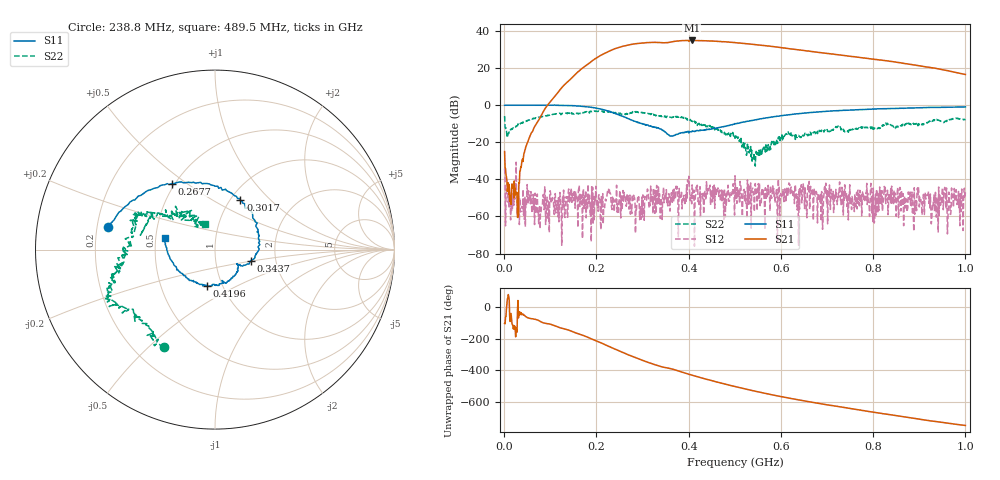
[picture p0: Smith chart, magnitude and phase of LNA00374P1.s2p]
! Created with skrf 1.9.0 (http://scikit-rf.org).
# Hz S RI R 50.0
!freq ReS11 ImS11 ReS21 ImS21 ReS12 ImS12 ReS22 ImS22
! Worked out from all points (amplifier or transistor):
!   1001 points, 1 MHz to 1 GHz, reference 50 ohm
!   highest |S21| = 34.9 dB at 406.6 MHz (marker M1)
!   |S21| within 3 dB of that: 259.9 MHz to 572.2 MHz (312.3 MHz wide, 75.1 % of centre)
!   unconditionally stable (mu >= 1): start of sweep to 84.14 MHz; 227.5 MHz to 500.5 MHz; 500.5 MHz to end of sweep (the widest 3 of 28)
!   at 166.8 MHz: K = 1.76, MAG = 31.3 dB, |S12| = -53.3 dB
!   at 500.5 MHz: K = 0.99, MSG = 35.9 dB, |S12| = -38.1 dB
!   at 1 GHz: K = 3.13, MAG = 24.0 dB, |S12| = -47.2 dB
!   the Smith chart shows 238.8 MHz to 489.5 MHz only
!   S11 on the Smith chart (normalised r, x): 238.8 MHz: 0.24, +0.10; 267.7 MHz: 0.48, +0.44; 301.7 MHz: 1.11, +0.68; 343.7 MHz: 1.48, -0.19; 419.6 MHz: 0.84, -0.35; 489.5 MHz: 0.56, +0.08
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1000000  0.9906 0.0146  -0.0149 -0.054  -0.00857 0.0175  0.3453 0.3757
1.07893e8  0.5149 -0.8544  -0.7371 -1.43  -0.00118 -0.00028  0.4376 -0.3698
1.67833e8  -0.2569 -0.8944  -9.533 -0.5517  -0.000425 -0.00215  0.0333 -0.6321
2.07793e8  -0.6849 -0.393  -15.36 14.93  0.00182 -0.002  -0.2041 -0.6573
2.38762e8  -0.5969 0.127  -3.143 32.6  0.00124 -0.000522  -0.285 -0.5448
2.67733e8  -0.2398 0.3678  20.78 35.86  -0.00237 -0.000479  -0.474 -0.3306
3.01699e8  0.1415 0.2757  44.2 17.39  -0.00141 0.00151  -0.5878 -0.197
3.18682e8  0.2301 0.1389  49.1 3.623  -0.00178 0.00175  -0.552 -0.131
3.34666e8  0.2455 9e-05  47.94 -9.663  -0.00539 0.0029  -0.5161 -0.0289
3.43657e8  0.1983 -0.0612  45.76 -15.42  -0.00177 -0.00345  -0.5109 0.0126
3.73627e8  0.1297 -0.099  41.22 -33.92  0.000102 0.00495  -0.4472 0.1668
4.06594e8  0.0248 -0.1904  19.7 -51.82  0.000769 0.00206  -0.3216 0.2034
4.19581e8  -0.0466 -0.201  9.522 -54.24  0.0037 0.00458  -0.2554 0.1777
4.5055e8  -0.1934 -0.1289  -13.48 -52.13  0.00272 0.00446  -0.1818 0.1857
4.89511e8  -0.2813 0.0626  -34.41 -35.92  0.00414 -0.000217  -0.0566 0.1438
5.005e8  -0.2922 0.1268  -38.09 -30.39  0.00735 0.0101  -0.0346 0.1232
5.4046e8  -0.2048 0.3349  -42.36 -9.089  0.00245 -0.00289  -0.0331 0.0133
5.88412e8  0.00595 0.4957  -35.4 11.31  0.00401 0.000341  -0.061 -0.0616
6.67333e8  0.3981 0.4977  -13.86 23.97  -0.000764 -0.00471  -0.1768 -0.0623
7.55245e8  0.6923 0.2696  3.974 20  -0.0021 -0.00202  -0.2289 -0.00903
8.34166e8  0.8067 -0.00335  11.21 10.53  -0.0034 -0.00052  -0.3018 -0.0867
1e9  0.7093 -0.5496  6.059 -2.895  0.00409 -0.00156  -0.4049 0.0871
